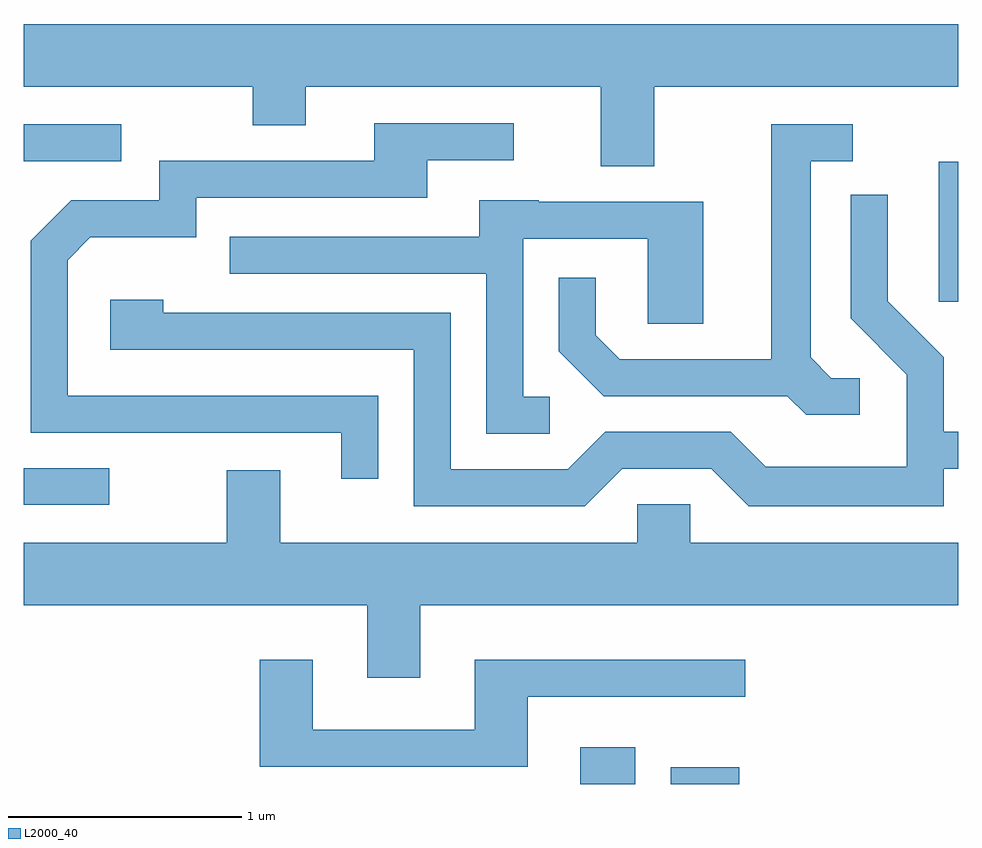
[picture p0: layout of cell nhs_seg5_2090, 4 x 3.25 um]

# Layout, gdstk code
import gdstk
lib = gdstk.Library(unit=1e-6, precision=1e-09)
def R(c, l, rs):  # rectangles x0, y0, x1, y1
    for r in rs: c.add(gdstk.rectangle(r[:2], r[2:], *l))
def P(c, l, *ps):  # polygons
    for p in ps: c.add(gdstk.Polygon(p, *l))
L2000_40 = (2000, 40)

nhs_seg5_2090 = lib.new_cell('nhs_seg5_2090')
R(nhs_seg5_2090, L2000_40, [(249.993,1416.072,250.229,1416.229), (250.381,1416.072,250.674,1416.144), (247.611,1417.266,247.978,1417.424), (251.526,1418.136,251.611,1418.734), (247.611,1418.736,248.028,1418.894)])
P(nhs_seg5_2090, L2000_40, [(250.309,1419.056),(251.611,1419.056),(251.611,1419.324),(247.611,1419.324),(247.611,1419.056),(248.591,1419.056),(248.591,1418.891),(248.819,1418.891),(248.819,1419.056),(250.081,1419.056),(250.081,1418.716),(250.309,1418.716)],
  [(249.129,1417.734),(247.799,1417.734),(247.799,1418.314),(247.897,1418.411),(248.349,1418.411),(248.349,1418.581),(249.339,1418.581),(249.339,1418.741),(249.708,1418.741),(249.708,1418.899),(249.111,1418.899),(249.111,1418.739),(248.191,1418.739),(248.191,1418.569),(247.814,1418.569),(247.641,1418.397),(247.641,1417.576),(248.971,1417.576),(248.971,1417.378),(249.129,1417.378)],
  [(251.188,1417.809),(251.067,1417.809),(250.979,1417.897),(250.979,1418.736),(251.158,1418.736),(251.158,1418.894),(250.811,1418.894),(250.811,1417.889),(250.162,1417.889),(250.059,1417.992),(250.059,1418.238),(249.901,1418.238),(249.901,1417.924),(250.094,1417.731),(250.879,1417.731),(250.959,1417.651),(251.188,1417.651)],
  [(250.172,1417.421),(250.554,1417.421),(250.714,1417.261),(251.549,1417.261),(251.549,1417.421),(251.611,1417.421),(251.611,1417.579),(251.549,1417.579),(251.549,1417.897),(251.309,1418.137),(251.309,1418.593),(251.151,1418.593),(251.151,1418.064),(251.391,1417.824),(251.391,1417.429),(250.787,1417.429),(250.637,1417.579),(250.099,1417.579),(249.939,1417.419),(249.439,1417.419),(249.439,1418.089),(248.209,1418.089),(248.209,1418.144),(247.981,1418.144),(247.981,1417.931),(249.281,1417.931),(249.281,1417.261),(250.012,1417.261)],
  [(249.863,1417.729),(249.749,1417.729),(249.749,1418.406),(250.281,1418.406),(250.281,1418.041),(250.519,1418.041),(250.519,1418.564),(249.815,1418.564),(249.815,1418.569),(249.561,1418.569),(249.561,1418.414),(248.493,1418.414),(248.493,1418.256),(249.591,1418.256),(249.591,1417.571),(249.863,1417.571)],
  [(249.309,1416.836),(251.611,1416.836),(251.611,1417.104),(250.464,1417.104),(250.464,1417.269),(250.236,1417.269),(250.236,1417.104),(248.709,1417.104),(248.709,1417.414),(248.481,1417.414),(248.481,1417.104),(247.611,1417.104),(247.611,1416.836),(249.081,1416.836),(249.081,1416.526),(249.309,1416.526)],
  [(249.769,1416.446),(250.698,1416.446),(250.698,1416.604),(249.541,1416.604),(249.541,1416.304),(248.849,1416.304),(248.849,1416.604),(248.621,1416.604),(248.621,1416.146),(249.769,1416.146)])

lib.write_gds('nhs_seg5_2090.gds')
